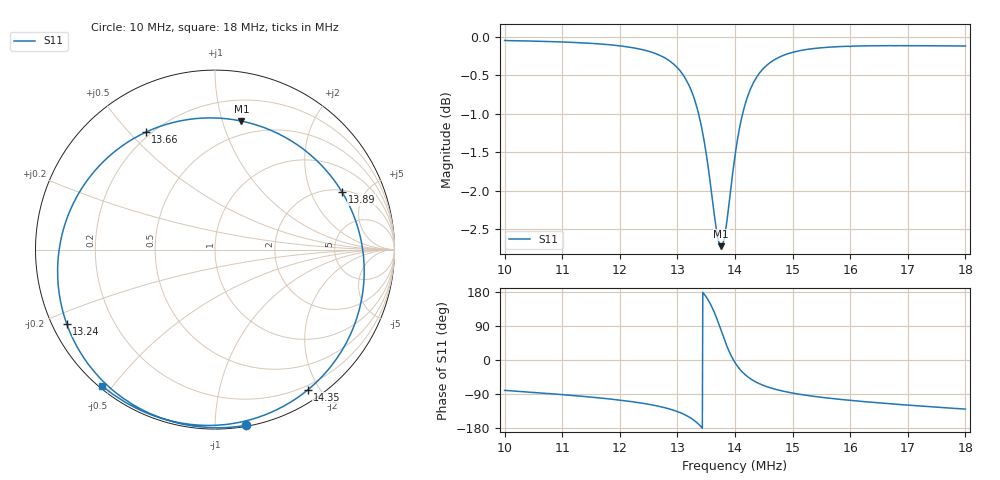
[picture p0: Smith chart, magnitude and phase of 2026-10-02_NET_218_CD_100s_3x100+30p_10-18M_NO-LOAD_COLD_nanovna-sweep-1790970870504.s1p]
! NanoVNA Web complex sweep
! Processing: unaveraged complex samples; linear segment spacing; no smoothing
# Hz S RI R 50
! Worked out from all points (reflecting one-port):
!   1010 points, 10 MHz to 18 MHz, reference 50 ohm
!   lowest |S11| = -2.7 dB at 13.76 MHz (marker M1), VSWR 6.44, Z = 18.8 + j57.8 ohm
!   phase of S11 starts at -80 deg and turns -409 deg over the sweep
!   S11 on the Smith chart (normalised r, x): 10 MHz: 0.01, -1.19; 13.24 MHz: 0.04, -0.24; 13.66 MHz: 0.18, +0.56; 13.89 MHz: 2.10, +3.40; 14.35 MHz: 0.14, -1.85; 18 MHz: 0.01, -0.47
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1e7  0.1707 -0.9796
1.100698e7  -0.0252 -0.9917
1.200604e7  -0.272 -0.9481
1.260864e7  -0.487 -0.8452
1.283065e7  -0.5932 -0.7629
1.300509e7  -0.6905 -0.6588
1.313196e7  -0.7671 -0.5441
1.323503e7  -0.8266 -0.4124
1.33619e7  -0.875 -0.1782
1.348876e7  -0.8296 0.1604
1.357598e7  -0.6708 0.4377
1.365527e7  -0.3854 0.6544
1.371077e7  -0.1101 0.7296
1.375835e7  0.1475 0.7162
1.382971e7  0.4963 0.5566
1.389314e7  0.7074 0.3216
1.394864e7  0.8032 0.0966
1.400414e7  0.8314 -0.1131
1.407551e7  0.8029 -0.3377
1.41548e7  0.7286 -0.525
1.424202e7  0.6302 -0.6696
1.434509e7  0.5157 -0.7824
1.460675e7  0.2796 -0.9203
1.50032e7  0.0445 -0.9758
1.543929e7  -0.1252 -0.975
1.600225e7  -0.2802 -0.9446
1.700131e7  -0.4792 -0.8624
1.800036e7  -0.6286 -0.7598
